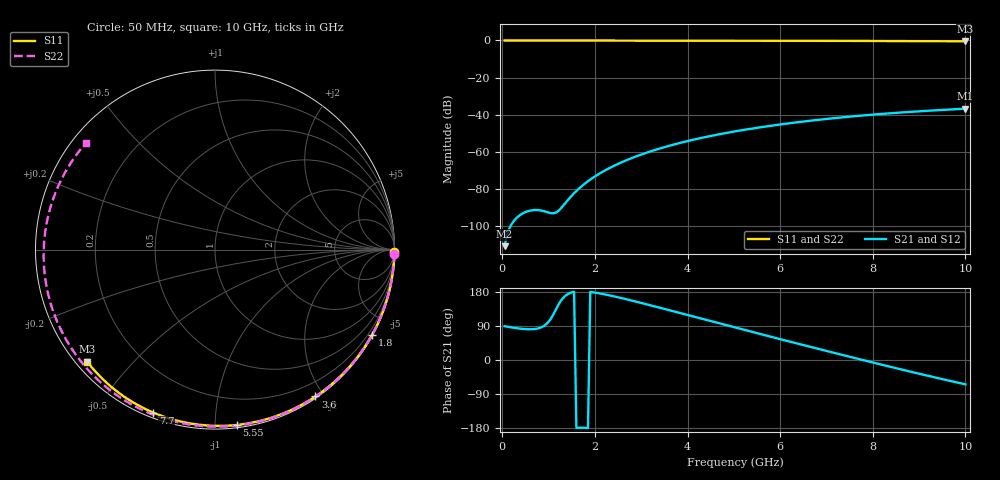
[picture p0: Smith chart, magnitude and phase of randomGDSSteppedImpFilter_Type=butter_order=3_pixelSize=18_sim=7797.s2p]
! freq	dB(S11)	phase(S11)	dB(S12)	phase(S12)
!  dB(S21)	phase(S21)	dB(S22)	phase(S22)
!S-par simulation data
#  GHz  S  DB  R 50
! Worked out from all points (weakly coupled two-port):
!   200 points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, 50 MHz to 10 GHz, reference 50 ohm
!   highest |S21| = -36.73 dB at 10 GHz (marker M1); lowest = -110.8 dB at 50 MHz (marker M2)
!   lowest |S11| = -0.5 dB at 10 GHz (marker M3), VSWR 36.90, Z = 1.55 - j18.8 ohm
!   |S11| at or under -10 dB: nowhere
!   |S22| runs from -0.6 to 0.0 dB; largest |S21 - S12| = 0
!   S11 on the Smith chart (normalised r, x): 50 MHz: open; 1.8 GHz: 0.03, -3.94; 3.6 GHz: 0.02, -1.90; 5.55 GHz: 0.02, -1.13; 7.7 GHz: 0.02, -0.69; 10 GHz: 0.03, -0.38
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0.05  -0.00 -0.8  -110.80 89.2  -110.80 89.2  -0.00 -1.3
0.4  -0.01 -6.4  -93.74 82.6  -93.74 82.6  -0.01 -10.4
0.8  -0.02 -12.8  -91.45 84.3  -91.45 84.3  -0.03 -20.8
1.6  -0.03 -25.4  -81.06 -179.2  -81.06 -179.2  -0.05 -41.1
1.65  -0.03 -26.1  -79.90 -178.7  -79.90 -178.7  -0.05 -42.3
1.75  -0.04 -27.7  -77.75 -178.7  -77.75 -178.7  -0.06 -44.8
1.8  -0.04 -28.5  -76.76 -179.1  -76.76 -179.1  -0.06 -46.1
2.1  -0.04 -33.1  -71.68 175.9  -71.68 175.9  -0.07 -53.4
2.5  -0.05 -39.2  -66.48 165.5  -66.48 165.5  -0.08 -63.0
2.9  -0.06 -45.3  -62.36 153.7  -62.36 153.7  -0.09 -72.3
3.4  -0.07 -52.7  -58.20 138.0  -58.20 138.0  -0.11 -83.7
3.6  -0.07 -55.6  -56.76 131.6  -56.76 131.6  -0.12 -88.1
4.3  -0.09 -65.7  -52.48 109.1  -52.48 109.1  -0.14 -103.2
5.05  -0.12 -76.2  -48.87 85.0  -48.87 85.0  -0.18 -118.8
5.55  -0.14 -83.0  -46.85 69.1  -46.85 69.1  -0.20 -128.9
6.15  -0.16 -90.9  -44.76 50.3  -44.76 50.3  -0.24 -140.8
6.7  -0.19 -98.1  -43.09 33.2  -43.09 33.2  -0.28 -151.6
7.2  -0.22 -104.5  -41.76 17.8  -41.76 17.8  -0.32 -161.4
7.7  -0.25 -110.7  -40.58 2.5  -40.58 2.5  -0.36 -171.2
8.35  -0.31 -118.8  -39.27 -17.1  -39.27 -17.1  -0.43 175.7
9.2  -0.39 -129.1  -37.85 -42.0  -37.85 -42.0  -0.52 158.1
10  -0.47 -138.8  -36.73 -64.3  -36.73 -64.3  -0.61 140.5
